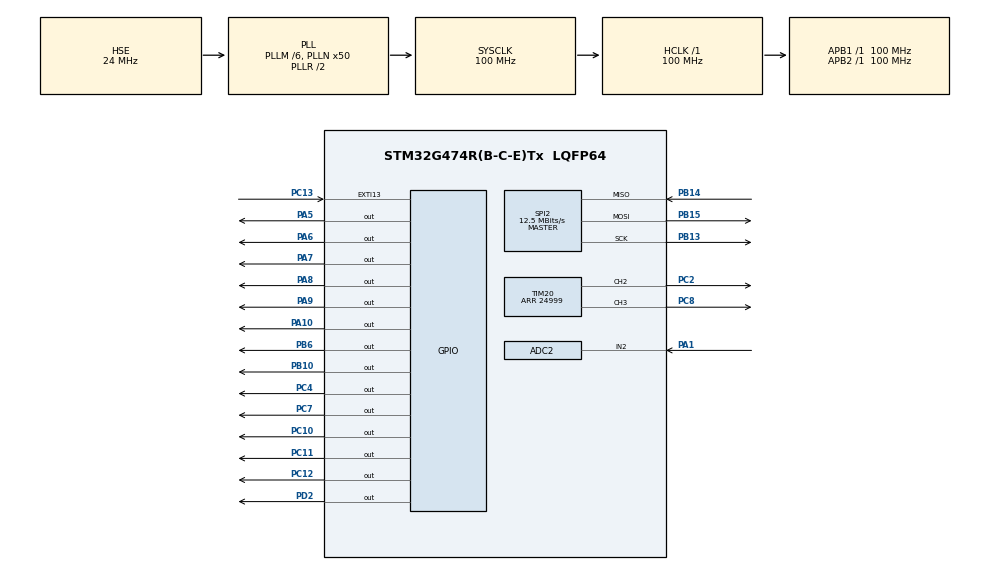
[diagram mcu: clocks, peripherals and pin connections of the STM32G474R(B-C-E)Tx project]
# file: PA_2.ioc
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ADC2.DMAContinuousRequests=ENABLE
ADC2.EnableRegularConversion=DISABLE
Dma.ADC2.0.Direction=DMA_PERIPH_TO_MEMORY
Dma.ADC2.0.EventEnable=DISABLE
Dma.ADC2.0.Instance=DMA1_Channel1
Dma.ADC2.0.MemDataAlignment=DMA_MDATAALIGN_HALFWORD
Dma.ADC2.0.MemInc=DMA_MINC_ENABLE
Dma.ADC2.0.Mode=DMA_CIRCULAR
Dma.ADC2.0.PeriphDataAlignment=DMA_PDATAALIGN_HALFWORD
Dma.ADC2.0.PeriphInc=DMA_PINC_DISABLE
Dma.ADC2.0.Polarity=HAL_DMAMUX_REQ_GEN_RISING
Dma.ADC2.0.Priority=DMA_PRIORITY_LOW
Dma.ADC2.0.RequestNumber=1
Dma.ADC2.0.SignalID=NONE
Dma.ADC2.0.SyncEnable=DISABLE
Dma.ADC2.0.SyncPolarity=HAL_DMAMUX_SYNC_NO_EVENT
Dma.ADC2.0.SyncRequestNumber=1
Dma.ADC2.0.SyncSignalID=NONE
Dma.Request0=ADC2
Mcu.Family=STM32G4
Mcu.Name=STM32G474R(B-C-E)Tx
Mcu.Package=LQFP64
NUCLEO-G474RE.BUTTON=1
NUCLEO-G474RE.LD2=true
NUCLEO-G474RE.VCP=true
NVIC.DMA1_Channel1_IRQn=true\:0\:0\:false\:false\:true\:false\:true\:true
NVIC.EXTI15_10_IRQn=true\:0\:0\:false\:false\:true\:true\:true\:true
NVIC.PriorityGroup=NVIC_PRIORITYGROUP_4
NVIC.TIM20_CC_IRQn=true\:0\:0\:false\:false\:true\:true\:true\:true
NVIC.TIM8_CC_IRQn=true\:0\:0\:false\:false\:true\:true\:true\:true
PA1.Mode=IN2-Single-Ended
PA1.Signal=ADC2_IN2
PA10.GPIO_Speed=GPIO_SPEED_FREQ_VERY_HIGH
PA10.Signal=GPIO_Output
PA13.GPIO_Label=T_SWDIO
PA13.Mode=Serial_Wire
PA13.Signal=SYS_JTMS-SWDIO
PA14.GPIO_Label=T_SWCLK
PA14.Mode=Serial_Wire
PA14.Signal=SYS_JTCK-SWCLK
PA2.Signal=LPUART1_TX
PA3.Signal=LPUART1_RX
PA5.Signal=GPIO_Output
PA6.GPIO_Speed=GPIO_SPEED_FREQ_VERY_HIGH
PA6.Signal=GPIO_Output
PA7.GPIO_Speed=GPIO_SPEED_FREQ_VERY_HIGH
PA7.Signal=GPIO_Output
PA8.GPIO_Speed=GPIO_SPEED_FREQ_VERY_HIGH
PA8.Signal=GPIO_Output
PA9.GPIO_Speed=GPIO_SPEED_FREQ_VERY_HIGH
PA9.Signal=GPIO_Output
PB10.GPIO_Speed=GPIO_SPEED_FREQ_VERY_HIGH
PB10.Signal=GPIO_Output
PB13.GPIO_PuPd=GPIO_PULLUP
PB13.GPIO_Speed=GPIO_SPEED_FREQ_VERY_HIGH
PB13.Mode=Full_Duplex_Master
PB13.Signal=SPI2_SCK
PB14.GPIO_PuPd=GPIO_PULLUP
PB14.GPIO_Speed=GPIO_SPEED_FREQ_VERY_HIGH
PB14.Mode=Full_Duplex_Master
PB14.Signal=SPI2_MISO
PB15.GPIO_PuPd=GPIO_PULLUP
PB15.GPIO_Speed=GPIO_SPEED_FREQ_VERY_HIGH
PB15.Mode=Full_Duplex_Master
PB15.Signal=SPI2_MOSI
PB3.GPIO_Label=T_SWO
PB3.Signal=SYS_JTDO-SWO
PB6.GPIO_Speed=GPIO_SPEED_FREQ_VERY_HIGH
PB6.Signal=GPIO_Output
PC10.GPIO_ModeDefaultOutputPP=GPIO_MODE_OUTPUT_PP
PC10.GPIO_PuPd=GPIO_PULLUP
PC10.GPIO_Speed=GPIO_SPEED_FREQ_VERY_HIGH
PC10.Signal=GPIO_Output
PC11.GPIO_PuPd=GPIO_PULLUP
PC11.GPIO_Speed=GPIO_SPEED_FREQ_VERY_HIGH
PC11.Signal=GPIO_Output
PC12.GPIO_PuPd=GPIO_PULLUP
PC12.GPIO_Speed=GPIO_SPEED_FREQ_VERY_HIGH
PC12.Signal=GPIO_Output
PC13.Signal=GPXTI13
PC14-OSC32_IN.GPIO_Label=RCC_OSC32_IN
PC14-OSC32_IN.Signal=RCC_OSC32_IN
PC15-OSC32_OUT.GPIO_Label=RCC_OSC32_OUT
PC15-OSC32_OUT.Signal=RCC_OSC32_OUT
PC2.Signal=S_TIM20_CH2
PC4.GPIO_Speed=GPIO_SPEED_FREQ_VERY_HIGH
PC4.Signal=GPIO_Output
PC7.GPIO_Speed=GPIO_SPEED_FREQ_VERY_HIGH
PC7.Signal=GPIO_Output
PC8.Signal=S_TIM20_CH3
PD2.GPIO_PuPd=GPIO_PULLUP
PD2.GPIO_Speed=GPIO_SPEED_FREQ_VERY_HIGH
PD2.Signal=GPIO_Output
PF0-OSC_IN.GPIO_Label=RCC_OSC_IN
PF0-OSC_IN.Mode=HSE-External-Oscillator
PF0-OSC_IN.Signal=RCC_OSC_IN
PF1-OSC_OUT.GPIO_Label=RCC_OSC_OUT
PF1-OSC_OUT.Mode=HSE-External-Oscillator
PF1-OSC_OUT.Signal=RCC_OSC_OUT
ProjectManager.HeapSize=0x200
ProjectManager.StackSize=0x400
ProjectManager.TargetToolchain=MDK-ARM V5
RCC.ADC12Freq_Value=100000000
RCC.ADC345Freq_Value=100000000
RCC.AHBFreq_Value=100000000
RCC.APB1Freq_Value=100000000
RCC.APB1TimFreq_Value=100000000
RCC.APB2Freq_Value=100000000
RCC.APB2TimFreq_Value=100000000
RCC.CortexFreq_Value=100000000
RCC.EXTERNAL_CLOCK_VALUE=12288000
RCC.HCLKFreq_Value=100000000
RCC.HSE_VALUE=24000000
RCC.HSI48_VALUE=48000000
RCC.HSI_VALUE=16000000
RCC.LSE_VALUE=32768
RCC.PLLM=RCC_PLLM_DIV6
RCC.PLLN=50
RCC.PLLSourceVirtual=RCC_PLLSOURCE_HSE
RCC.RTCClockSelection=RCC_RTCCLKSOURCE_LSE
RCC.SYSCLKFreq_VALUE=100000000
RCC.SYSCLKSource=RCC_SYSCLKSOURCE_PLLCLK
RCC.USBFreq_Value=100000000
RCC.VCOOutputFreq_Value=200000000
SH.S_TIM20_CH2.0=TIM20_CH2,PWM Generation2 CH2
SH.S_TIM20_CH3.0=TIM20_CH3,PWM Generation3 CH3
SPI2.BaudRatePrescaler=SPI_BAUDRATEPRESCALER_8
SPI2.CLKPhase=SPI_PHASE_2EDGE
SPI2.CLKPolarity=SPI_POLARITY_HIGH
SPI2.CalculateBaudRate=12.5 MBits/s
SPI2.DataSize=SPI_DATASIZE_8BIT
SPI2.Direction=SPI_DIRECTION_2LINES
SPI2.Mode=SPI_MODE_MASTER
SPI2.VirtualType=VM_MASTER
TIM1.AutoReloadPreload=TIM_AUTORELOAD_PRELOAD_ENABLE
TIM1.PeriodNoDither=39
TIM1.Prescaler=0
TIM1.TIM_MasterOutputTrigger=TIM_TRGO_UPDATE
TIM20.AutoReloadPreload=TIM_AUTORELOAD_PRELOAD_ENABLE
TIM20.Channel-Output\ Compare1\ No\ Output=TIM_CHANNEL_1
TIM20.Channel-Output\ Compare4\ No\ Output=TIM_CHANNEL_4
TIM20.Channel-Output\ Compare5\ No\ Output=TIM_CHANNEL_5
TIM20.Channel-PWM\ Generation2\ CH2=TIM_CHANNEL_2
TIM20.Channel-PWM\ Generation3\ CH3=TIM_CHANNEL_3
TIM20.PeriodNoDither=24999
TIM20.PulseNoDither_1=3816
TIM20.PulseNoDither_2=9
TIM20.PulseNoDither_3=9
TIM20.PulseNoDither_4=24816
TIM20.PulseNoDither_5=22999
TIM8.AutoReloadPreload=TIM_AUTORELOAD_PRELOAD_ENABLE
TIM8.Channel-Output\ Compare1\ No\ Output=TIM_CHANNEL_1
TIM8.Channel-Output\ Compare2\ No\ Output=TIM_CHANNEL_2
TIM8.PeriodNoDither=24999
TIM8.PulseNoDither_1=1815
TIM8.PulseNoDither_2=5815
VP_NUCLEO-G474RE_VS_BSP_COMMON.Mode=COMMON
VP_SYS_VS_DBSignals.Mode=DisableDeadBatterySignals
VP_TIM1_VS_ClockSourceINT.Mode=Internal
VP_TIM20_VS_ClockSourceINT.Mode=Internal
VP_TIM20_VS_no_output1.Mode=Output Compare1 No Output
VP_TIM20_VS_no_output4.Mode=Output Compare4 No Output
VP_TIM20_VS_no_output5.Mode=Output Compare5 No Output
VP_TIM8_VS_ClockSourceINT.Mode=Internal
VP_TIM8_VS_no_output1.Mode=Output Compare1 No Output
VP_TIM8_VS_no_output2.Mode=Output Compare2 No Output
board=NUCLEO-G474RE

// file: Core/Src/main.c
/* USER CODE BEGIN Header */
/**
  ******************************************************************************
  * @file           : main.c
  * @brief          : Main program body
  ******************************************************************************
  * @attention
  *
  * Copyright (c) 2025 STMicroelectronics.
  * All rights reserved.
  *
  * This software is licensed under terms that can be found in the LICENSE file
  * in the root directory of this software component.
  * If no LICENSE file comes with this software, it is provided AS-IS.
  *
  ******************************************************************************
  */
/* USER CODE END Header */
#include "main.h"
#include "adc.h"
#include "dma.h"
#include "spi.h"
#include "tim.h"
#include "gpio.h"

/* USER CODE BEGIN Includes */
#include "math.h"
#include "string.h"
#include "atk_md0240.h"
#include "image.h"
#define ADC_BUFFER_SIZE 625//500us@3.03MHz
#define FFT_LEN 1024
#define WAVEFORMWIDTH 230
#define WAVEFORMHEIGHT 230

float FFT_INPUT[FFT_LEN*2];
float FFT_OUTPUT[FFT_LEN];
float moni_sin_data[FFT_LEN];
uint8_t INT_FFT_OUTPUT[FFT_LEN];

/* USER CODE END Includes */

/* USER CODE BEGIN PTD */
#define FRAME_AVERAGE_COUNT 1000
volatile uint16_t adc_buffer_a[ADC_BUFFER_SIZE];
volatile uint16_t adc_buffer_b[ADC_BUFFER_SIZE];
volatile uint8_t current_buffer = 0; // 0: BufferA, 1: BufferB

volatile uint8_t adc_data_ready = 0;              // ADC数据准备好标志
volatile uint16_t* last_adc_buffer = NULL;        // 指向最新ADC数据缓冲区的指针

extern UART_HandleTypeDef hcom_uart[]; //  BSP串口句柄

uint16_t tx_buffer1[ADC_BUFFER_SIZE];
uint16_t tx_buffer2[ADC_BUFFER_SIZE];
volatile uint8_t active_tx_buffer = 0;
volatile uint8_t lcd_show_waveform_ready = 0;
volatile uint8_t sendflag = 0;
volatile uint8_t ADCflag = 1;

const PinMap pin_map[7] = {
    {GPIOA, GPIO_PIN_6},  // out0 -> PA6(��ΪPC4)
    {GPIOA, GPIO_PIN_7},  // out1 -> PA7
    {GPIOB, GPIO_PIN_6},  // out2 -> PB6����ΪPC2��
    {GPIOC, GPIO_PIN_7},  // out3 -> PC7����ΪPC8��
    {GPIOA, GPIO_PIN_9},  // out4 -> PA9
    {GPIOA, GPIO_PIN_8},  // out5 -> PA8
    {GPIOA, GPIO_PIN_10}   // out6 -> PA10
};

// frame average variable
volatile uint32_t accum_buffer[ADC_BUFFER_SIZE] = {0};  // 32bit leijia huanchong qv
volatile uint16_t frame_count = 0;
volatile uint8_t average_ready = 0;
volatile uint16_t averaged_buffer[ADC_BUFFER_SIZE];  // pingjvn jieguo huanchong qv
/* USER CODE END PTD */

COM_InitTypeDef BspCOMInit;

void SystemClock_Config(void);

int main(void)
{

  /* MCU Configuration--------------------------------------------------------*/

  /* Reset of all peripherals, Initializes the Flash interface and the Systick. */
  HAL_Init();

  /* Configure the system clock */
  SystemClock_Config();

  /* Initialize all configured peripherals */
  MX_GPIO_Init();
  MX_DMA_Init();
  MX_TIM1_Init();
  MX_TIM8_Init();
  MX_TIM20_Init();
  MX_SPI2_Init();
  MX_ADC2_Init();
  /* USER CODE BEGIN 2 */
  // ���� ADC DMA ����
  HAL_ADC_Start_DMA(&hadc2, (uint32_t*)adc_buffer_a, ADC_BUFFER_SIZE);
// ������ʱ������ ADC
  HAL_TIM_Base_Start(&htim1);

  HAL_TIM_OC_Start_IT(&htim20, TIM_CHANNEL_1);
  HAL_TIM_OC_Start_IT(&htim20, TIM_CHANNEL_4);
  HAL_TIM_OC_Start_IT(&htim20, TIM_CHANNEL_5);
//  HAL_TIM_OC_Start_IT(&htim8, TIM_CHANNEL_1);
//  HAL_TIM_OC_Start_IT(&htim8, TIM_CHANNEL_2);

  HAL_TIM_PWM_Start(&htim20,TIM_CHANNEL_2);
  HAL_TIM_PWM_Start(&htim20,TIM_CHANNEL_3);

  update_gpio_output(0x73);//0b1110011
  atk_md0240_init();

  /* USER CODE END 2 */

  /* Initialize led */
  BSP_LED_Init(LED_GREEN);

  /* Initialize USER push-button, will be used to trigger an interrupt each time it's pressed.*/
  BSP_PB_Init(BUTTON_USER, BUTTON_MODE_EXTI);

  /* Initialize COM1 port (115200, 8 bits (7-bit data + 1 stop bit), no parity */
  BspCOMInit.BaudRate   = 115200;
  BspCOMInit.WordLength = COM_WORDLENGTH_8B;
  BspCOMInit.StopBits   = COM_STOPBITS_1;
  BspCOMInit.Parity     = COM_PARITY_NONE;
  BspCOMInit.HwFlowCtl  = COM_HWCONTROL_NONE;
  if (BSP_COM_Init(COM1, &BspCOMInit) != BSP_ERROR_NONE)
  {
    Error_Handler();
  }

  /* Infinite loop */
  /* USER CODE BEGIN WHILE */
    BspCOMInit.BaudRate   = 256000;
  BspCOMInit.WordLength = COM_WORDLENGTH_8B;
  BspCOMInit.StopBits   = COM_STOPBITS_1;
  BspCOMInit.Parity     = COM_PARITY_NONE;
  BspCOMInit.HwFlowCtl  = COM_HWCONTROL_NONE;
  if (BSP_COM_Init(COM1, &BspCOMInit) != BSP_ERROR_NONE)
  {
    Error_Handler();
  }

  atk_md0240_show_pic(20 , 110 ,200 ,100 , image_data   );
  HAL_Delay(1000);
  atk_md0240_clear(ATK_MD0240_WHITE);

  draw_axes();//绘制坐标轴

  while (1)
  {

    if (adc_data_ready) {
        adc_data_ready = 0;
        // 累加
        for (int i = 0; i < ADC_BUFFER_SIZE; i++) {
            accum_buffer[i] += last_adc_buffer[i];
        }
        frame_count++;

        // 达到平均帧数后处理
        if (frame_count >= FRAME_AVERAGE_COUNT) {

            for (int i = 0; i < ADC_BUFFER_SIZE; i++) {
                averaged_buffer[i] = (uint16_t)(accum_buffer[i] / FRAME_AVERAGE_COUNT);
            }
            memset((void*)accum_buffer, 0, sizeof(accum_buffer));
            frame_count = 0;
            average_ready = 1;
			lcd_show_waveform_ready = 1;
        }
    }

	if(lcd_show_waveform_ready){
		lcd_show_waveform_ready = 0;
		lcd_show_waveform( averaged_buffer );
	}

//    if (average_ready) {
//		//ADC_Pause(&hadc1);
//		ADCflag = 0;
//        average_ready = 0;
//		sendflag = 1;
//        // 发送数据...
//        for (int i = 0; i < ADC_BUFFER_SIZE; i++) {
//            uint16_t adc_value = averaged_buffer[i];
//            uint8_t data_packet[3] = {
//                0xAA,
//                (uint8_t)(adc_value >> 8),
//                (uint8_t)(adc_value & 0xFF)
//            };
//            HAL_UART_Transmit(&hcom_uart[COM1], data_packet, 3, 100);
//        }
//		//ADC_Resume(&hadc1);
//		sendflag = 0;
//
//    }
    //HAL_Delay(1);
    /* USER CODE END WHILE */

  }
}

void SystemClock_Config(void)
{
  RCC_OscInitTypeDef RCC_OscInitStruct = {0};
  RCC_ClkInitTypeDef RCC_ClkInitStruct = {0};

  /** Configure the main internal regulator output voltage
  */
  HAL_PWREx_ControlVoltageScaling(PWR_REGULATOR_VOLTAGE_SCALE1);

  /** Initializes the RCC Oscillators according to the specified parameters
  * in the RCC_OscInitTypeDef structure.
  */
  RCC_OscInitStruct.OscillatorType = RCC_OSCILLATORTYPE_HSE;
  RCC_OscInitStruct.HSEState = RCC_HSE_ON;
  RCC_OscInitStruct.PLL.PLLState = RCC_PLL_ON;
  RCC_OscInitStruct.PLL.PLLSource = RCC_PLLSOURCE_HSE;
  RCC_OscInitStruct.PLL.PLLM = RCC_PLLM_DIV6;
  RCC_OscInitStruct.PLL.PLLN = 50;
  RCC_OscInitStruct.PLL.PLLP = RCC_PLLP_DIV2;
  RCC_OscInitStruct.PLL.PLLQ = RCC_PLLQ_DIV2;
  RCC_OscInitStruct.PLL.PLLR = RCC_PLLR_DIV2;
  if (HAL_RCC_OscConfig(&RCC_OscInitStruct) != HAL_OK)
  {
    Error_Handler();
  }

  /** Initializes the CPU, AHB and APB buses clocks
  */
  RCC_ClkInitStruct.ClockType = RCC_CLOCKTYPE_HCLK|RCC_CLOCKTYPE_SYSCLK
                              |RCC_CLOCKTYPE_PCLK1|RCC_CLOCKTYPE_PCLK2;
  RCC_ClkInitStruct.SYSCLKSource = RCC_SYSCLKSOURCE_PLLCLK;
  RCC_ClkInitStruct.AHBCLKDivider = RCC_SYSCLK_DIV1;
  RCC_ClkInitStruct.APB1CLKDivider = RCC_HCLK_DIV1;
  RCC_ClkInitStruct.APB2CLKDivider = RCC_HCLK_DIV1;

  if (HAL_RCC_ClockConfig(&RCC_ClkInitStruct, FLASH_LATENCY_3) != HAL_OK)
  {
    Error_Handler();
  }
}

/* USER CODE BEGIN 4 */

void HAL_ADC_ConvCpltCallback(ADC_HandleTypeDef *hadc) {
    last_adc_buffer = (current_buffer == 0) ? adc_buffer_a : adc_buffer_b;
    adc_data_ready = 1;

    // 启动DMA到另一个缓冲区
    if (current_buffer == 0) {
        HAL_ADC_Start_DMA(&hadc2, (uint32_t*)adc_buffer_b, ADC_BUFFER_SIZE);
        current_buffer = 1;
    } else {
        HAL_ADC_Start_DMA(&hadc2, (uint32_t*)adc_buffer_a, ADC_BUFFER_SIZE);
        current_buffer = 0;
    }
}

void HAL_UART_TxCpltCallback(UART_HandleTypeDef *huart) {
    active_tx_buffer ^= 1;
}

// ��д�Ƚ�ƥ��ص�����
void HAL_TIM_OC_DelayElapsedCallback(TIM_HandleTypeDef *htim) {
  if(htim->Instance == TIM20) {
    switch(htim->Channel) {
      case HAL_TIM_ACTIVE_CHANNEL_1:{
		 //update_gpio_output(0x33);//0b1110010
		 HAL_GPIO_WritePin(GPIOC,GPIO_PIN_4,GPIO_PIN_SET);
        //3816
        break;
	  }

	  case HAL_TIM_ACTIVE_CHANNEL_4:{
		  //update_gpio_output(0x73);//0b1110011
		  HAL_GPIO_WritePin(GPIOC,GPIO_PIN_4,GPIO_PIN_RESET);
		  BSP_LED_Toggle(LED_GREEN);
//		  if((!sendflag)&&(!ADCflag)){
//			ADC_Resume(&hadc1);
//
//		  }
//		  ADC_Resume(&hadc1);
		  break;
		  //24816
	  }

      default:
		break;
    }
  }

}

void update_gpio_output(uint8_t value) {
    for (int i = 0; i < 7; i++) {
        HAL_GPIO_WritePin(pin_map[i].port, pin_map[i].pin,(value >> i) & 0x01 ? GPIO_PIN_SET : GPIO_PIN_RESET);
    }
}

void ADC_Pause(ADC_HandleTypeDef* hadc) {
    HAL_TIM_Base_Stop(&htim1);        // ֹͣ����Դ
    //hadc->State = HAL_ADC_STATE_READY;
	HAL_ADC_Stop_DMA(hadc);           // 使用HAL库标准函数停止ADC
}

// �ָ�ADCת��
void ADC_Resume(ADC_HandleTypeDef* hadc) {
//    // ���DMA��־
//	DMA_HandleTypeDef* hdma = hadc->DMA_Handle;
////    __HAL_DMA_DISABLE(hadc->DMA_Handle);
//    __HAL_DMA_CLEAR_FLAG(hadc->DMA_Handle, __HAL_DMA_GET_TC_FLAG_INDEX(hdma) | __HAL_DMA_GET_HT_FLAG_INDEX(hdma));
//    __HAL_DMA_ENABLE(hadc->DMA_Handle);
//
//    // ��������Դ
//    HAL_TIM_Base_Start(&htim1);
//    hadc->State = HAL_ADC_STATE_BUSY;
	   // 重新初始化ADC
    // 根据当前缓冲区启动DMA
    if (current_buffer == 0) {
        HAL_ADC_Start_DMA(hadc, (uint32_t*)adc_buffer_a, ADC_BUFFER_SIZE);
    } else {
        HAL_ADC_Start_DMA(hadc, (uint32_t*)adc_buffer_b, ADC_BUFFER_SIZE);
    }

    // 重新启动时钟源
    HAL_TIM_Base_Start(&htim1);
}

uint8_t float_to_uint8(float value) {
    // 1. 将值限制在0.0-255.0范围内
    float clamped = fmaxf(0.0f, fminf(value, 255.0f));

    // 2. 四舍五入到最接近的整数
    // 注意：直接加0.5然后截断是实现四舍五入的常用技巧
    return (uint8_t)(clamped + 0.5f);
}

void lcd_show_waveform(volatile uint16_t* p) {
    // 1. 参数检查
    if(p == NULL) return;

    // 2. 定义显示区域参数
    const uint16_t DISPLAY_START_X = 5;    // 显示区域起始X坐标
    const uint16_t DISPLAY_START_Y = 5;    // 显示区域起始Y坐标
    const uint16_t DISPLAY_END_Y = 234;    // 显示区域结束Y坐标
    const uint16_t DISPLAY_HEIGHT = DISPLAY_END_Y - DISPLAY_START_Y; // 显示区域高度
    const uint16_t DISPLAY_WIDTH = 230;    // 显示区域宽度 (根据实际情况调整)

    // 3. 固定电压范围 (1.4V ~ 1.9V)
    const float VOLT_MIN = 1.4f;           // 最小电压 1.4V
    const float VOLT_MAX = 1.9f;           // 最大电压 1.9V

    // 4. 计算对应的ADC值范围
    const uint16_t ADC_MIN = (uint16_t)((VOLT_MIN / 3.3f) * 2048);
    const uint16_t ADC_MAX = (uint16_t)((VOLT_MAX / 3.3f) * 2048);
    const uint16_t ADC_RANGE = ADC_MAX - ADC_MIN;

    // 5. 查找最大值位置 (用于确定显示起点)
    uint16_t max = 0;
    uint16_t max_p = 100;
    for(int i = 0; i < ADC_BUFFER_SIZE; i++) {
        if(p[i] > max) {
            max = p[i];
            max_p = i;
        }
    }

    // 6. 安全计算起点
    uint16_t start_point;
    if(max_p < 20) {
        start_point = 0;
    } else {
        start_point = max_p - 20;
    }

    // 7. 计算实际可绘制的点数
    uint16_t draw_points = DISPLAY_WIDTH / 2;
    if(start_point + draw_points >= ADC_BUFFER_SIZE) {
        draw_points = ADC_BUFFER_SIZE - start_point - 1;
    }

    // 8. 绘制第一个点
    // 清除第一列
    atk_md0240_draw_line(DISPLAY_START_X, DISPLAY_START_Y, DISPLAY_START_X, DISPLAY_END_Y, ATK_MD0240_WHITE);
    atk_md0240_draw_line(DISPLAY_START_X+1, DISPLAY_START_Y, DISPLAY_START_X+1, DISPLAY_END_Y, ATK_MD0240_WHITE);

    // 约束ADC值在[ADC_MIN, ADC_MAX]范围内
    uint16_t adc_value = p[start_point];
    if(adc_value < ADC_MIN) adc_value = ADC_MIN;
    if(adc_value > ADC_MAX) adc_value = ADC_MAX;

    // 计算Y坐标 (注意：高电压对应屏幕顶部)
    uint16_t y_val = ((uint32_t)(adc_value - ADC_MIN) * DISPLAY_HEIGHT) / ADC_RANGE;
    y_val = DISPLAY_END_Y - y_val;  // 反转Y轴

    // 绘制第一个点
    atk_md0240_draw_point(DISPLAY_START_X, y_val, ATK_MD0240_BLACK);

    // 9. 绘制后续点
    for(int i = 1; i < draw_points; i++) {
        uint16_t col = DISPLAY_START_X + 2*i;
        // 清除当前列
        atk_md0240_draw_line(col, DISPLAY_START_Y, col, DISPLAY_END_Y, ATK_MD0240_WHITE);
        atk_md0240_draw_line(col+1, DISPLAY_START_Y, col+1, DISPLAY_END_Y, ATK_MD0240_WHITE);

        // 处理前一个点
        uint16_t prev_adc = p[start_point + i - 1];
        if(prev_adc < ADC_MIN) prev_adc = ADC_MIN;
        if(prev_adc > ADC_MAX) prev_adc = ADC_MAX;
        uint16_t prev_y = ((uint32_t)(prev_adc - ADC_MIN) * DISPLAY_HEIGHT) / ADC_RANGE;
        prev_y = DISPLAY_END_Y - prev_y;

        // 处理当前点
        uint16_t curr_adc = p[start_point + i];
        if(curr_adc < ADC_MIN) curr_adc = ADC_MIN;
        if(curr_adc > ADC_MAX) curr_adc = ADC_MAX;
        uint16_t curr_y = ((uint32_t)(curr_adc - ADC_MIN) * DISPLAY_HEIGHT) / ADC_RANGE;
        curr_y = DISPLAY_END_Y - curr_y;

        // 绘制连接线
        atk_md0240_draw_line(col - 2, prev_y, col, curr_y, ATK_MD0240_BLACK);
    }
}

void draw_axes(void){
	atk_md0240_draw_line( 4 ,5 , 4, 235 ,ATK_MD0240_BLACK); //纵轴
	atk_md0240_draw_line( 1 ,165 ,4 ,165 ,ATK_MD0240_BLACK); //1V
	atk_md0240_draw_line( 1 ,95 ,4 ,95 ,ATK_MD0240_BLACK); //2V
	atk_md0240_draw_line( 1 ,25 ,4 ,25 ,ATK_MD0240_BLACK);  //3V

	atk_md0240_draw_line( 4 ,235 ,235, 235 ,ATK_MD0240_BLACK ); //横轴
	atk_md0240_draw_line( 55 ,235 ,55, 240 ,ATK_MD0240_BLACK );
	atk_md0240_draw_line( 105 ,235 ,105 , 240 ,ATK_MD0240_BLACK );
	atk_md0240_draw_line( 155 ,235 ,155, 240 ,ATK_MD0240_BLACK );
	atk_md0240_draw_line( 205 ,235 ,205, 240 ,ATK_MD0240_BLACK );

	//atk_md0240_show_string( 20 ,240, "y:1V/dev",ATK_MD0240_FONT_12 , ATK_MD0240_BROWN  );
	atk_md0240_show_string( 120 ,240, "x:50us/dev",ATK_MD0240_FONT_12 , ATK_MD0240_BROWN  );
}

/* USER CODE END 4 */

void Error_Handler(void)
{
  __disable_irq();
  while (1)
  {
  }
}
